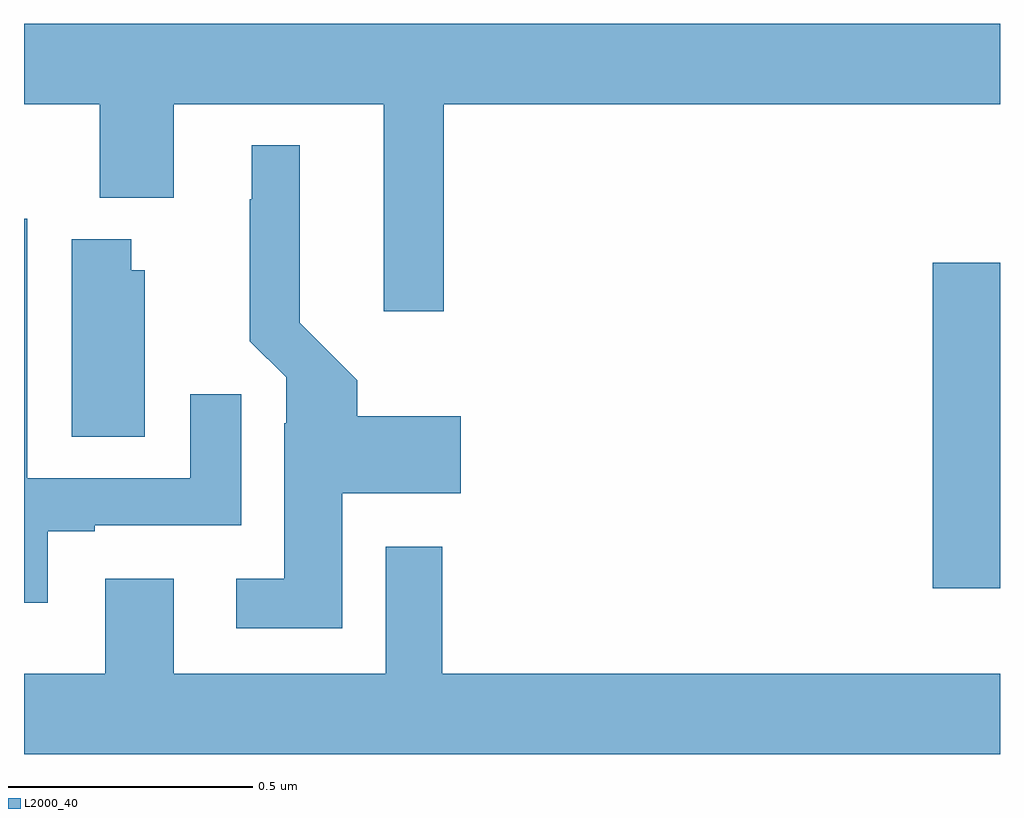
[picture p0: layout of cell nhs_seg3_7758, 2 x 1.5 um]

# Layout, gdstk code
import gdstk
lib = gdstk.Library(unit=1e-6, precision=1e-09)
def R(c, l, rs):  # rectangles x0, y0, x1, y1
    for r in rs: c.add(gdstk.rectangle(r[:2], r[2:], *l))
def P(c, l, *ps):  # polygons
    for p in ps: c.add(gdstk.Polygon(p, *l))
L2000_40 = (2000, 40)

nhs_seg3_7758 = lib.new_cell('nhs_seg3_7758')
R(nhs_seg3_7758, L2000_40, [(208.862,731.892,209,732.559)])
P(nhs_seg3_7758, L2000_40, [(207,732.884),(207.155,732.884),(207.155,732.692),(207.307,732.692),(207.307,732.884),(207.737,732.884),(207.737,732.459),(207.86,732.459),(207.86,732.884),(209,732.884),(209,733.048),(207,733.048)],
  [(207.652,732.086),(207.895,732.086),(207.895,732.244),(207.683,732.244),(207.683,732.318),(207.565,732.436),(207.565,732.799),(207.467,732.799),(207.467,732.689),(207.463,732.689),(207.463,732.398),(207.537,732.324),(207.537,732.23),(207.533,732.23),(207.533,731.911),(207.435,731.911),(207.435,731.81),(207.652,731.81)],
  [(207.049,732.009),(207.145,732.009),(207.145,732.021),(207.445,732.021),(207.445,732.289),(207.341,732.289),(207.341,732.117),(207.007,732.117),(207.007,732.649),(207,732.649),(207,731.862),(207.049,731.862)],
  [(207.247,732.543),(207.22,732.543),(207.22,732.607),(207.098,732.607),(207.098,732.202),(207.247,732.202)],
  [(207.167,731.911),(207.167,731.716),(207,731.716),(207,731.552),(209,731.552),(209,731.716),(207.857,731.716),(207.857,731.977),(207.741,731.977),(207.741,731.716),(207.307,731.716),(207.307,731.911)])

lib.write_gds('nhs_seg3_7758.gds')
